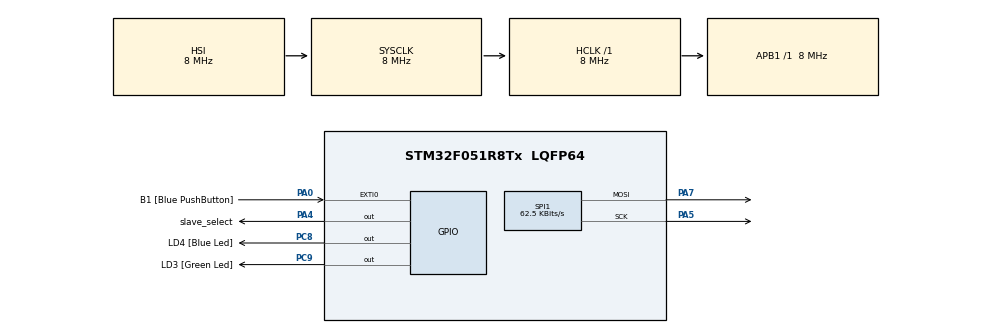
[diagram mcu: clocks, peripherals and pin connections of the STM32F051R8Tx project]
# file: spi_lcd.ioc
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Mcu.Family=STM32F0
Mcu.Name=STM32F051R8Tx
Mcu.Package=LQFP64
PA0.GPIO_Label=B1 [Blue PushButton]
PA0.GPIO_ModeDefaultEXTI=GPIO_MODE_EVT_RISING
PA0.Signal=GPXTI0
PA13.GPIO_Label=SWDIO
PA13.Mode=Serial_Wire
PA13.Signal=SYS_SWDIO
PA14.GPIO_Label=SWCLK
PA14.Mode=Serial_Wire
PA14.Signal=SYS_SWCLK
PA4.GPIO_Label=slave_select
PA4.Signal=GPIO_Output
PA5.Mode=TX_Only_Simplex_Unidirect_Master
PA5.Signal=SPI1_SCK
PA7.Mode=TX_Only_Simplex_Unidirect_Master
PA7.Signal=SPI1_MOSI
PC8.GPIO_Label=LD4 [Blue Led]
PC8.Signal=GPIO_Output
PC9.GPIO_Label=LD3 [Green Led]
PC9.Signal=GPIO_Output
ProjectManager.HeapSize=0x200
ProjectManager.StackSize=0x400
ProjectManager.TargetToolchain=SW4STM32
RCC.AHBFreq_Value=8000000
RCC.APB1Freq_Value=8000000
RCC.APB1TimFreq_Value=8000000
RCC.HCLKFreq_Value=8000000
RCC.PLLMUL=RCC_PLL_MUL12
RCC.SYSCLKFreq_VALUE=8000000
SPI1.BaudRatePrescaler=SPI_BAUDRATEPRESCALER_128
SPI1.CLKPhase=SPI_PHASE_2EDGE
SPI1.CLKPolarity=SPI_POLARITY_HIGH
SPI1.CalculateBaudRate=62.5 KBits/s
SPI1.DataSize=SPI_DATASIZE_8BIT
SPI1.Direction=SPI_DIRECTION_2LINES
SPI1.Mode=SPI_MODE_MASTER
SPI1.VirtualType=VM_MASTER
board=STM32F0DISCOVERY

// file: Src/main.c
/**
  ******************************************************************************
  * @file           : main.c
  * @brief          : Main program body
  ******************************************************************************
  ** This notice applies to any and all portions of this file
  * that are not between comment pairs USER CODE BEGIN and
  * USER CODE END. Other portions of this file, whether
  * inserted by the user or by software development tools
  * are owned by their respective copyright owners.
  *
  * COPYRIGHT(c) 2018 STMicroelectronics
  *
  * Redistribution and use in source and binary forms, with or without modification,
  * are permitted provided that the following conditions are met:
  *   1. Redistributions of source code must retain the above copyright notice,
  *      this list of conditions and the following disclaimer.
  *   2. Redistributions in binary form must reproduce the above copyright notice,
  *      this list of conditions and the following disclaimer in the documentation
  *      and/or other materials provided with the distribution.
  *   3. Neither the name of STMicroelectronics nor the names of its contributors
  *      may be used to endorse or promote products derived from this software
  *      without specific prior written permission.
  *
  * THIS SOFTWARE IS PROVIDED BY THE COPYRIGHT HOLDERS AND CONTRIBUTORS "AS IS"
  * AND ANY EXPRESS OR IMPLIED WARRANTIES, INCLUDING, BUT NOT LIMITED TO, THE
  * IMPLIED WARRANTIES OF MERCHANTABILITY AND FITNESS FOR A PARTICULAR PURPOSE ARE
  * DISCLAIMED. IN NO EVENT SHALL THE COPYRIGHT HOLDER OR CONTRIBUTORS BE LIABLE
  * FOR ANY DIRECT, INDIRECT, INCIDENTAL, SPECIAL, EXEMPLARY, OR CONSEQUENTIAL
  * DAMAGES (INCLUDING, BUT NOT LIMITED TO, PROCUREMENT OF SUBSTITUTE GOODS OR
  * SERVICES; LOSS OF USE, DATA, OR PROFITS; OR BUSINESS INTERRUPTION) HOWEVER
  * CAUSED AND ON ANY THEORY OF LIABILITY, WHETHER IN CONTRACT, STRICT LIABILITY,
  * OR TORT (INCLUDING NEGLIGENCE OR OTHERWISE) ARISING IN ANY WAY OUT OF THE USE
  * OF THIS SOFTWARE, EVEN IF ADVISED OF THE POSSIBILITY OF SUCH DAMAGE.
  *
  ******************************************************************************
  */
#include "main.h"
#include "stm32f0xx_hal.h"

SPI_HandleTypeDef hspi1;

/* USER CODE BEGIN PV */
/* Private variables ---------------------------------------------------------*/
char input_spi[100];
/* USER CODE END PV */

void SystemClock_Config(void);
static void MX_GPIO_Init(void);
static void MX_SPI1_Init(void);

/* USER CODE BEGIN PFP */
/* Private function prototypes -----------------------------------------------*/

/* USER CODE END PFP */

/* USER CODE BEGIN 0 */
void transmit_SPI(char* ch){
	HAL_GPIO_WritePin(GPIOA, slave_select_Pin, GPIO_PIN_RESET);
	HAL_SPI_Transmit(&hspi1, (uint8_t *) ch, strlen(ch), HAL_MAX_DELAY);
	HAL_GPIO_WritePin(GPIOA, slave_select_Pin, GPIO_PIN_SET);
	HAL_Delay(20);
}

void clear_screen(){
	int i;
	for(i = 0; i < 100; i++){
		input_spi[i] = 0;
	}
	input_spi[0] = 0xfe;
	transmit_SPI(input_spi);
	input_spi[0] = 0x51;
	transmit_SPI(input_spi);

}

void print(char* ch){
	int i;
	for(i = 0; i < strlen(ch); i++){
//		sprintf(input, "%s", ch[i]);
//		transmit_SPI(input);
		transmit_SPI(ch[i]);
		HAL_Delay(200);
	}
	return;
}

void displayOn(){
	HAL_Delay(2);
	input_spi[0] = 0xfe;
	transmit_SPI(input_spi);
	input_spi[0] = 0x41;
	transmit_SPI(input_spi);

}

void enable_blink(){
	input_spi[0] = 0xfe;
	transmit_SPI(input_spi);
	input_spi[0] = 0x4B;
	transmit_SPI(input_spi);

}

void second_line(){
	input_spi[0] = 0xfe;
	transmit_SPI(input_spi);
	input_spi[0] = 0x45;
	transmit_SPI(input_spi);
	input_spi[0] = 0x40;
	transmit_SPI(input_spi);
}

void first_line(){
	input_spi[0] = 0xfe;
	transmit_SPI(input_spi);
	input_spi[0] = 0x45;
	transmit_SPI(input_spi);
	input_spi[0] = 0x00;
	transmit_SPI(input_spi);
}
/* USER CODE END 0 */

int main(void)
{

  /* MCU Configuration----------------------------------------------------------*/

  /* Reset of all peripherals, Initializes the Flash interface and the Systick. */
  HAL_Init();

  /* Configure the system clock */
  SystemClock_Config();

  /* Initialize all configured peripherals */
  MX_GPIO_Init();
  MX_SPI1_Init();
  /* USER CODE BEGIN 2 */
  clear_screen();
  displayOn();
  transmit_SPI("Hello There");
  second_line();
  transmit_SPI("I'm here");
  /* USER CODE END 2 */

  /* Infinite loop */
  while (1)
  {

  }

}

void SystemClock_Config(void)
{

  RCC_OscInitTypeDef RCC_OscInitStruct;
  RCC_ClkInitTypeDef RCC_ClkInitStruct;

    /**Initializes the CPU, AHB and APB busses clocks
    */
  RCC_OscInitStruct.OscillatorType = RCC_OSCILLATORTYPE_HSI;
  RCC_OscInitStruct.HSIState = RCC_HSI_ON;
  RCC_OscInitStruct.HSICalibrationValue = 16;
  RCC_OscInitStruct.PLL.PLLState = RCC_PLL_NONE;
  if (HAL_RCC_OscConfig(&RCC_OscInitStruct) != HAL_OK)
  {
    _Error_Handler(__FILE__, __LINE__);
  }

    /**Initializes the CPU, AHB and APB busses clocks
    */
  RCC_ClkInitStruct.ClockType = RCC_CLOCKTYPE_HCLK|RCC_CLOCKTYPE_SYSCLK
                              |RCC_CLOCKTYPE_PCLK1;
  RCC_ClkInitStruct.SYSCLKSource = RCC_SYSCLKSOURCE_HSI;
  RCC_ClkInitStruct.AHBCLKDivider = RCC_SYSCLK_DIV1;
  RCC_ClkInitStruct.APB1CLKDivider = RCC_HCLK_DIV1;

  if (HAL_RCC_ClockConfig(&RCC_ClkInitStruct, FLASH_LATENCY_0) != HAL_OK)
  {
    _Error_Handler(__FILE__, __LINE__);
  }

    /**Configure the Systick interrupt time
    */
  HAL_SYSTICK_Config(HAL_RCC_GetHCLKFreq()/1000);

    /**Configure the Systick
    */
  HAL_SYSTICK_CLKSourceConfig(SYSTICK_CLKSOURCE_HCLK);

  /* SysTick_IRQn interrupt configuration */
  HAL_NVIC_SetPriority(SysTick_IRQn, 0, 0);
}

/* SPI1 init function */
static void MX_SPI1_Init(void)
{

  /* SPI1 parameter configuration*/
  hspi1.Instance = SPI1;
  hspi1.Init.Mode = SPI_MODE_MASTER;
  hspi1.Init.Direction = SPI_DIRECTION_2LINES;
  hspi1.Init.DataSize = SPI_DATASIZE_8BIT;
  hspi1.Init.CLKPolarity = SPI_POLARITY_HIGH;
  hspi1.Init.CLKPhase = SPI_PHASE_2EDGE;
  hspi1.Init.NSS = SPI_NSS_SOFT;
  hspi1.Init.BaudRatePrescaler = SPI_BAUDRATEPRESCALER_128;
  hspi1.Init.FirstBit = SPI_FIRSTBIT_MSB;
  hspi1.Init.TIMode = SPI_TIMODE_DISABLE;
  hspi1.Init.CRCCalculation = SPI_CRCCALCULATION_DISABLE;
  hspi1.Init.CRCPolynomial = 7;
  hspi1.Init.CRCLength = SPI_CRC_LENGTH_DATASIZE;
  hspi1.Init.NSSPMode = SPI_NSS_PULSE_DISABLE;
  if (HAL_SPI_Init(&hspi1) != HAL_OK)
  {
    _Error_Handler(__FILE__, __LINE__);
  }

}

/** Configure pins as
        * Analog
        * Input
        * Output
        * EVENT_OUT
        * EXTI
*/
static void MX_GPIO_Init(void)
{

  GPIO_InitTypeDef GPIO_InitStruct;

  /* GPIO Ports Clock Enable */
  __HAL_RCC_GPIOA_CLK_ENABLE();
  __HAL_RCC_GPIOC_CLK_ENABLE();

  /*Configure GPIO pin Output Level */
  HAL_GPIO_WritePin(slave_select_GPIO_Port, slave_select_Pin, GPIO_PIN_RESET);

  /*Configure GPIO pin Output Level */
  HAL_GPIO_WritePin(GPIOC, LD4_Pin|LD3_Pin, GPIO_PIN_RESET);

  /*Configure GPIO pin : B1_Pin */
  GPIO_InitStruct.Pin = B1_Pin;
  GPIO_InitStruct.Mode = GPIO_MODE_EVT_RISING;
  GPIO_InitStruct.Pull = GPIO_NOPULL;
  HAL_GPIO_Init(B1_GPIO_Port, &GPIO_InitStruct);

  /*Configure GPIO pin : slave_select_Pin */
  GPIO_InitStruct.Pin = slave_select_Pin;
  GPIO_InitStruct.Mode = GPIO_MODE_OUTPUT_PP;
  GPIO_InitStruct.Pull = GPIO_NOPULL;
  GPIO_InitStruct.Speed = GPIO_SPEED_FREQ_LOW;
  HAL_GPIO_Init(slave_select_GPIO_Port, &GPIO_InitStruct);

  /*Configure GPIO pins : LD4_Pin LD3_Pin */
  GPIO_InitStruct.Pin = LD4_Pin|LD3_Pin;
  GPIO_InitStruct.Mode = GPIO_MODE_OUTPUT_PP;
  GPIO_InitStruct.Pull = GPIO_NOPULL;
  GPIO_InitStruct.Speed = GPIO_SPEED_FREQ_LOW;
  HAL_GPIO_Init(GPIOC, &GPIO_InitStruct);

}

void _Error_Handler(char *file, int line)
{
  while(1)
  {
  }
}

/************************ (C) COPYRIGHT STMicroelectronics *****END OF FILE****/
